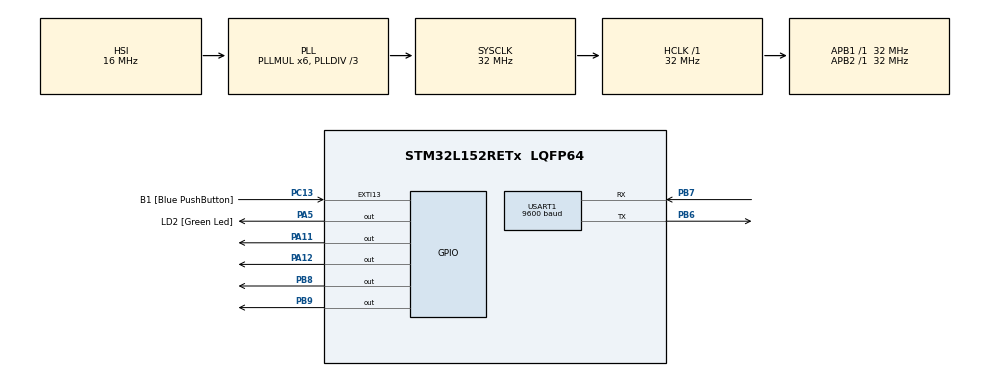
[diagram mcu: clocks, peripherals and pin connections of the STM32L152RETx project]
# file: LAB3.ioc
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Mcu.Family=STM32L1
Mcu.Name=STM32L152RETx
Mcu.Package=LQFP64
NVIC.PriorityGroup=NVIC_PRIORITYGROUP_0
NVIC.USART1_IRQn=true\:0\:0\:false\:false\:true\:true\:true\:true
PA11.Signal=GPIO_Output
PA12.Signal=GPIO_Output
PA13.GPIO_Label=TMS
PA13.Mode=Serial_Wire
PA13.Signal=SYS_JTMS-SWDIO
PA14.GPIO_Label=TCK
PA14.Mode=Serial_Wire
PA14.Signal=SYS_JTCK-SWCLK
PA5.GPIO_Label=LD2 [Green Led]
PA5.Signal=GPIO_Output
PB3.GPIO_Label=SWO
PB3.Signal=SYS_JTDO-TRACESWO
PB6.Mode=Asynchronous
PB6.Signal=USART1_TX
PB7.Mode=Asynchronous
PB7.Signal=USART1_RX
PB8.Signal=GPIO_Output
PB9.Signal=GPIO_Output
PC13-WKUP2.GPIO_Label=B1 [Blue PushButton]
PC13-WKUP2.Signal=GPXTI13
PC14-OSC32_IN.Mode=LSE-External-Oscillator
PC14-OSC32_IN.Signal=RCC_OSC32_IN
PC15-OSC32_OUT.Mode=LSE-External-Oscillator
PC15-OSC32_OUT.Signal=RCC_OSC32_OUT
PH0-OSC_IN.Mode=HSE-External-Clock-Source
PH0-OSC_IN.Signal=RCC_OSC_IN
PH1-OSC_OUT.Signal=RCC_OSC_OUT
ProjectManager.HeapSize=0x200
ProjectManager.StackSize=0x400
ProjectManager.TargetToolchain=STM32CubeIDE
RCC.48MHZClocksFreq_Value=48000000
RCC.AHBFreq_Value=32000000
RCC.APB1Freq_Value=32000000
RCC.APB1TimFreq_Value=32000000
RCC.APB2Freq_Value=32000000
RCC.APB2TimFreq_Value=32000000
RCC.HCLKFreq_Value=32000000
RCC.HSE_VALUE=8000000
RCC.HSI_VALUE=16000000
RCC.MSI_VALUE=2097000
RCC.PLLDIV=RCC_PLL_DIV3
RCC.PLLMUL=RCC_PLL_MUL6
RCC.RTCClockSelectionVirtual=RCC_RTCCLKSOURCE_LSE
RCC.SYSCLKFreq_VALUE=32000000
RCC.SYSCLKSource=RCC_SYSCLKSOURCE_PLLCLK
RCC.USBOutput=48000000
RCC.VCOOutputFreq_Value=96000000
USART1.BaudRate=9600
USART1.VirtualMode=VM_ASYNC
board=NUCLEO-L152RE

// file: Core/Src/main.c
/* USER CODE BEGIN Header */
/**
  ******************************************************************************
  * @file           : main.c
  * @brief          : Main program body
  ******************************************************************************
  * @attention
  *
  * Copyright (c) 2023 STMicroelectronics.
  * All rights reserved.
  *
  * This software is licensed under terms that can be found in the LICENSE file
  * in the root directory of this software component.
  * If no LICENSE file comes with this software, it is provided AS-IS.
  *
  ******************************************************************************
  */
/* USER CODE END Header */
#include "main.h"

/* USER CODE BEGIN Includes */
#include "Utiles_SDM.h"
/* USER CODE END Includes */

UART_HandleTypeDef huart1;

/* USER CODE BEGIN PV */
unsigned short mode = 1;
uint8_t received[7];
uint8_t lineBreak[7];
uint8_t answer[7] = {0,0,0,0,0,0,0};
uint8_t choose[7] = {67, 104, 111, 111, 115, 101, 32};
uint8_t aMode[7] = {97, 32, 109, 111, 100, 101, 32};
/* USER CODE END PV */

void SystemClock_Config(void);
static void MX_GPIO_Init(void);
static void MX_USART1_UART_Init(void);
/* USER CODE BEGIN PFP */
void goForward(void);
void goBackward(void);
void Stop(void);
void goRight(void);
void goLeft(void);

void lineBreakFunction(void);
void chooseAMode(void);
/* USER CODE END PFP */

/* USER CODE BEGIN 0 */
void lineBreakFunction(void) {
  lineBreak[0] = 10;
  HAL_UART_Transmit(&huart1, lineBreak, 1, 10000);
  lineBreak[0] = 13;
  HAL_UART_Transmit(&huart1, lineBreak, 1, 10000);
}
void chooseAMode(void) {
  HAL_UART_Transmit(&huart1, choose, 7, 10000);
  HAL_UART_Transmit(&huart1, aMode, 7, 10000);
}

void goForward(void) {
  GPIOA->BSRR = (1 << 11)<<16;
  GPIOA->BSRR = (1 << 12)<<16;
  GPIOB->BSRR = (1 << 8);
  GPIOB->BSRR = (1 << 9);
}

void goBackward(void) {
  GPIOA->BSRR = (1 << 11);
  GPIOA->BSRR = (1 << 12);
  GPIOB->BSRR = (1 << 8)<<16;
  GPIOB->BSRR = (1 << 9)<<16;
}

void Stop(void) {
  GPIOA->BSRR = (1 << 11)<<16;
  GPIOA->BSRR = (1 << 12)<<16;
  GPIOB->BSRR = (1 << 8)<<16;
  GPIOB->BSRR = (1 << 9)<<16;
}

void goRight(void) {
  GPIOA->BSRR = (1 << 11);
  GPIOA->BSRR = (1 << 12)<<16;
  GPIOB->BSRR = (1 << 8)<<16;
  GPIOB->BSRR = (1 << 9);
}

void goLeft(void) {
  GPIOA->BSRR = (1 << 11)<<16;
  GPIOA->BSRR = (1 << 12);
  GPIOB->BSRR = (1 << 8);
  GPIOB->BSRR = (1 << 9)<<16;
}
/* USER CODE END 0 */

int main(void)
{

  /* MCU Configuration--------------------------------------------------------*/

  /* Reset of all peripherals, Initializes the Flash interface and the Systick. */
  HAL_Init();

  /* Configure the system clock */
  SystemClock_Config();

  /* Initialize all configured peripherals */
  MX_GPIO_Init();
  MX_USART1_UART_Init();
  /* USER CODE BEGIN 2 */
  // MOTOR 1 CONFIG
  GPIOB->MODER &= ~(1 << (8*2 +1));
  GPIOB->MODER |= (1 << (8*2));
  GPIOA->MODER &= ~(1 << (11*2 +1));  // PA11 as Digital Output(01)
  GPIOA->MODER |= (1 << (11*2));

  // MOTOR 2 CONFIG
  GPIOB->MODER &= ~(1 << (9*2 +1));
  GPIOB->MODER |= (1 << (9*2));
  GPIOA->MODER &= ~(1 << (12*2 +1));  // PA12 as Digital Output(01)
  GPIOA->MODER |= (1 << (12*2));

  HAL_UART_Receive_IT(&huart1, received, 1);
  /* USER CODE END 2 */

  /* Infinite loop */
  /* USER CODE BEGIN WHILE */
  while (1)
  {
    if(mode == 1) {
      Stop();
    }
    else if(mode == 2) {
      goForward();
    }
    else if(mode == 3) {
      goBackward();
    }
    else if(mode == 4) {
      goRight();
    }
    else if(mode == 5) {
      goLeft();
    }

    espera(100000);
    /* USER CODE END WHILE */

  }
}

void SystemClock_Config(void)
{
  RCC_OscInitTypeDef RCC_OscInitStruct = {0};
  RCC_ClkInitTypeDef RCC_ClkInitStruct = {0};

  /** Configure the main internal regulator output voltage
  */
  __HAL_PWR_VOLTAGESCALING_CONFIG(PWR_REGULATOR_VOLTAGE_SCALE1);

  /** Initializes the RCC Oscillators according to the specified parameters
  * in the RCC_OscInitTypeDef structure.
  */
  RCC_OscInitStruct.OscillatorType = RCC_OSCILLATORTYPE_HSI;
  RCC_OscInitStruct.HSIState = RCC_HSI_ON;
  RCC_OscInitStruct.HSICalibrationValue = RCC_HSICALIBRATION_DEFAULT;
  RCC_OscInitStruct.PLL.PLLState = RCC_PLL_ON;
  RCC_OscInitStruct.PLL.PLLSource = RCC_PLLSOURCE_HSI;
  RCC_OscInitStruct.PLL.PLLMUL = RCC_PLL_MUL6;
  RCC_OscInitStruct.PLL.PLLDIV = RCC_PLL_DIV3;
  if (HAL_RCC_OscConfig(&RCC_OscInitStruct) != HAL_OK)
  {
    Error_Handler();
  }

  /** Initializes the CPU, AHB and APB buses clocks
  */
  RCC_ClkInitStruct.ClockType = RCC_CLOCKTYPE_HCLK|RCC_CLOCKTYPE_SYSCLK
                              |RCC_CLOCKTYPE_PCLK1|RCC_CLOCKTYPE_PCLK2;
  RCC_ClkInitStruct.SYSCLKSource = RCC_SYSCLKSOURCE_PLLCLK;
  RCC_ClkInitStruct.AHBCLKDivider = RCC_SYSCLK_DIV1;
  RCC_ClkInitStruct.APB1CLKDivider = RCC_HCLK_DIV1;
  RCC_ClkInitStruct.APB2CLKDivider = RCC_HCLK_DIV1;

  if (HAL_RCC_ClockConfig(&RCC_ClkInitStruct, FLASH_LATENCY_1) != HAL_OK)
  {
    Error_Handler();
  }
}

static void MX_USART1_UART_Init(void)
{

  huart1.Instance = USART1;
  huart1.Init.BaudRate = 9600;
  huart1.Init.WordLength = UART_WORDLENGTH_8B;
  huart1.Init.StopBits = UART_STOPBITS_1;
  huart1.Init.Parity = UART_PARITY_NONE;
  huart1.Init.Mode = UART_MODE_TX_RX;
  huart1.Init.HwFlowCtl = UART_HWCONTROL_NONE;
  huart1.Init.OverSampling = UART_OVERSAMPLING_16;
  if (HAL_UART_Init(&huart1) != HAL_OK)
  {
    Error_Handler();
  }

}

static void MX_GPIO_Init(void)
{
  GPIO_InitTypeDef GPIO_InitStruct = {0};

  /* GPIO Ports Clock Enable */
  __HAL_RCC_GPIOC_CLK_ENABLE();
  __HAL_RCC_GPIOH_CLK_ENABLE();
  __HAL_RCC_GPIOA_CLK_ENABLE();
  __HAL_RCC_GPIOB_CLK_ENABLE();

  /*Configure GPIO pin Output Level */
  HAL_GPIO_WritePin(GPIOA, LD2_Pin|GPIO_PIN_11|GPIO_PIN_12, GPIO_PIN_RESET);

  /*Configure GPIO pin Output Level */
  HAL_GPIO_WritePin(GPIOB, GPIO_PIN_8|GPIO_PIN_9, GPIO_PIN_RESET);

  /*Configure GPIO pin : B1_Pin */
  GPIO_InitStruct.Pin = B1_Pin;
  GPIO_InitStruct.Mode = GPIO_MODE_IT_RISING;
  GPIO_InitStruct.Pull = GPIO_NOPULL;
  HAL_GPIO_Init(B1_GPIO_Port, &GPIO_InitStruct);

  /*Configure GPIO pins : LD2_Pin PA11 PA12 */
  GPIO_InitStruct.Pin = LD2_Pin|GPIO_PIN_11|GPIO_PIN_12;
  GPIO_InitStruct.Mode = GPIO_MODE_OUTPUT_PP;
  GPIO_InitStruct.Pull = GPIO_NOPULL;
  GPIO_InitStruct.Speed = GPIO_SPEED_FREQ_LOW;
  HAL_GPIO_Init(GPIOA, &GPIO_InitStruct);

  /*Configure GPIO pins : PB8 PB9 */
  GPIO_InitStruct.Pin = GPIO_PIN_8|GPIO_PIN_9;
  GPIO_InitStruct.Mode = GPIO_MODE_OUTPUT_PP;
  GPIO_InitStruct.Pull = GPIO_NOPULL;
  GPIO_InitStruct.Speed = GPIO_SPEED_FREQ_LOW;
  HAL_GPIO_Init(GPIOB, &GPIO_InitStruct);

}

/* USER CODE BEGIN 4 */
void HAL_UART_RxCpltCallback(UART_HandleTypeDef *huart)
{
  HAL_UART_Receive_IT(huart, received, 1); // Vuelve a activar Rx por haber acabado el buffer

    if(received[0] == '1') {   // A 1 is received -> STOP
      mode = 1;
      uint8_t answer[7] = {83, 116, 111, 112, 112, 101, 100};
      lineBreakFunction();
      HAL_UART_Transmit(&huart1, answer, 7, 10000);
      lineBreakFunction();
      chooseAMode();
    }
    if(received[0] == '2') {   // A 2 is received -> FORWARD
      mode = 2;
      uint8_t answer[7] = {70, 111, 114, 119, 97, 114, 100};
      lineBreakFunction();
      HAL_UART_Transmit(&huart1, answer, 7, 10000);
      lineBreakFunction();
      chooseAMode();
    }
    if(received[0] == '3') {   // A 3 is received -> BACK
      mode = 3;
      uint8_t answer[7] = {66, 97, 99, 107, 0, 0, 0};
      lineBreakFunction();
      HAL_UART_Transmit(&huart1, answer, 7, 10000);
      lineBreakFunction();
      chooseAMode();
    }
    if(received[0] == '4') {   // A 4 is received -> RIGHT
      mode = 4;
      uint8_t answer[7] = {82, 105, 103, 104, 116, 0, 0};
      lineBreakFunction();
      HAL_UART_Transmit(&huart1, answer, 7, 10000);
      lineBreakFunction();
      chooseAMode();
    }
    if(received[0] == '5') {   // A 5 is received -> LEFT
      mode = 5;
      uint8_t answer[7] = {76, 101, 102, 116, 0, 0, 0};
      lineBreakFunction();
      HAL_UART_Transmit(&huart1, answer, 7, 10000);
      lineBreakFunction();
      chooseAMode();
    }

}
/* USER CODE END 4 */

void Error_Handler(void)
{
  __disable_irq();
  while (1)
  {
  }
}
